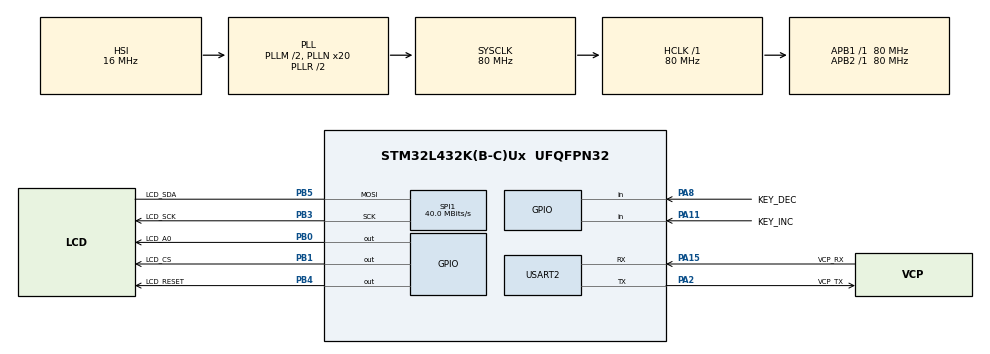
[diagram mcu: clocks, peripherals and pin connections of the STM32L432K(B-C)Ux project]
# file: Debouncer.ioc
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Mcu.Family=STM32L4
Mcu.Name=STM32L432K(B-C)Ux
Mcu.Package=UFQFPN32
NVIC.PriorityGroup=NVIC_PRIORITYGROUP_4
PA0.GPIO_Label=MCO [High speed clock in]
PA0.Signal=RCC_CK_IN
PA11.GPIO_Label=KEY_INC
PA11.GPIO_PuPd=GPIO_PULLUP
PA11.Signal=GPIO_Input
PA13\ (JTMS-SWDIO).GPIO_Label=SWDIO
PA13\ (JTMS-SWDIO).Signal=SYS_JTMS-SWDIO
PA14\ (JTCK-SWCLK).GPIO_Label=SWCLK
PA14\ (JTCK-SWCLK).Signal=SYS_JTCK-SWCLK
PA15\ (JTDI).GPIO_Label=VCP_RX
PA15\ (JTDI).Mode=Asynchronous
PA15\ (JTDI).Signal=USART2_RX
PA2.GPIO_Label=VCP_TX
PA2.Mode=Asynchronous
PA2.Signal=USART2_TX
PA8.GPIO_Label=KEY_DEC
PA8.GPIO_PuPd=GPIO_PULLUP
PA8.Signal=GPIO_Input
PB0.GPIO_Label=LCD_A0
PB0.GPIO_Speed=GPIO_SPEED_FREQ_VERY_HIGH
PB0.PinState=GPIO_PIN_RESET
PB0.Signal=GPIO_Output
PB1.GPIO_Label=LCD_CS
PB1.GPIO_Speed=GPIO_SPEED_FREQ_VERY_HIGH
PB1.Signal=GPIO_Output
PB3\ (JTDO-TRACESWO).GPIO_Label=LCD_SCK
PB3\ (JTDO-TRACESWO).Mode=Simplex_Bidirectional_Master
PB3\ (JTDO-TRACESWO).Signal=SPI1_SCK
PB4\ (NJTRST).GPIO_Label=LCD_RESET
PB4\ (NJTRST).GPIO_Speed=GPIO_SPEED_FREQ_VERY_HIGH
PB4\ (NJTRST).Signal=GPIO_Output
PB5.GPIO_Label=LCD_SDA
PB5.Mode=Simplex_Bidirectional_Master
PB5.Signal=SPI1_MOSI
PC14-OSC32_IN\ (PC14).Signal=RCC_OSC32_IN
PC15-OSC32_OUT\ (PC15).Signal=RCC_OSC32_OUT
ProjectManager.HeapSize=0x200
ProjectManager.StackSize=0x400
ProjectManager.TargetToolchain=TrueSTUDIO
RCC.ADCFreq_Value=32000000
RCC.AHBFreq_Value=80000000
RCC.APB1Freq_Value=80000000
RCC.APB1TimFreq_Value=80000000
RCC.APB2Freq_Value=80000000
RCC.APB2TimFreq_Value=80000000
RCC.CortexFreq_Value=80000000
RCC.HCLKFreq_Value=80000000
RCC.HSE_VALUE=8000000
RCC.HSI16_VALUE=16000000
RCC.HSI48_VALUE=48000000
RCC.HSI_VALUE=16000000
RCC.LSE_VALUE=32768
RCC.MSI_VALUE=4000000
RCC.PLLM=2
RCC.PLLMUL=RCC_PLLMUL_4
RCC.PLLN=20
RCC.PLLSourceVirtual=RCC_PLLSOURCE_HSI
RCC.SYSCLKFreq_VALUE=80000000
RCC.SYSCLKSource=RCC_SYSCLKSOURCE_PLLCLK
RCC.USBFreq_Value=32000000
RCC.VCOOutputFreq_Value=160000000
SPI1.BaudRatePrescaler=SPI_BAUDRATEPRESCALER_2
SPI1.CalculateBaudRate=40.0 MBits/s
SPI1.DataSize=SPI_DATASIZE_8BIT
SPI1.Direction=SPI_DIRECTION_1LINE
SPI1.Mode=SPI_MODE_MASTER
SPI1.VirtualType=VM_MASTER
USART2.VirtualMode-Asynchronous=VM_ASYNC
USART2.WordLength=WORDLENGTH_8B
board=NUCLEO-L432KC

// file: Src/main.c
/*
 * Debounce demo
 *
 * This program shows how to use the debouncing library and auto-repeat function
 *
 * Keys are connected to PA11 (increment) and PA8 (decrement), graphic LCD dis-
 * play is connected to PB0, PB1, PB3, PB4 and PB5 (check CubeMX debouncer.ioc)
 *
 * Author:		Fabio Pereira
 * Date:		08/21/2017
 */
#include "main.h"
#include "stm32l4xx_hal.h"

/* USER CODE BEGIN Includes */
#include "ST7735.h"
#include "debounce.h"
/* USER CODE END Includes */

SPI_HandleTypeDef hspi1;

UART_HandleTypeDef huart2;

/* USER CODE BEGIN PV */
/* Private variables ---------------------------------------------------------*/

/* USER CODE END PV */

void SystemClock_Config(void);
static void MX_GPIO_Init(void);
static void MX_USART2_UART_Init(void);
static void MX_SPI1_Init(void);

/* USER CODE BEGIN PFP */
/* Private function prototypes -----------------------------------------------*/

/* USER CODE END PFP */

/* USER CODE BEGIN 0 */
void printCounter(uint32_t value){
	char lcdString[10] = {0};
	snprintf(lcdString,5,"%-5li",value);
	lcd7735_setFont((uint8_t *)&BigFont);
	lcd7735_print(lcdString,55,85,0);
}
/* USER CODE END 0 */

int main(void)
{

  /* USER CODE BEGIN 1 */
	uint32_t counter = 0;
	AutoRepeatKey keyIncStruct;
	AutoRepeatKey keyDecStruct;
  /* USER CODE END 1 */

  /* MCU Configuration----------------------------------------------------------*/

  /* Reset of all peripherals, Initializes the Flash interface and the Systick. */
  HAL_Init();

  /* Configure the system clock */
  SystemClock_Config();

  /* Initialize all configured peripherals */
  MX_GPIO_Init();
  MX_USART2_UART_Init();
  MX_SPI1_Init();

  /* USER CODE BEGIN 2 */
  lcd7735_initR(INITR_REDTAB);
  lcd7735_setFont((uint8_t *)&SmallFont);
  lcd7735_fillScreen(ST7735_BLACK);
  lcd7735_print("Count =",45,70,0);
  printCounter(counter);
  initKeyAutoRepeat(&keyIncStruct,KEY_INC_GPIO_Port,KEY_INC_Pin,GPIO_PIN_RESET,10,60);
  initKeyAutoRepeat(&keyDecStruct,KEY_DEC_GPIO_Port,KEY_DEC_Pin,GPIO_PIN_RESET,10,60);
  /* USER CODE END 2 */

  /* Infinite loop */
  while (1)
  {

  /* USER CODE BEGIN 3 */
	  if (readKeyAutoRepeat(&keyIncStruct)){
		  counter++;
		  printCounter(counter);
	  }
	  if (readKeyAutoRepeat(&keyDecStruct)){
		  counter--;
		  printCounter(counter);
	  }
  }
  /* USER CODE END 3 */

}

/** System Clock Configuration
*/
void SystemClock_Config(void)
{

  RCC_OscInitTypeDef RCC_OscInitStruct;
  RCC_ClkInitTypeDef RCC_ClkInitStruct;
  RCC_PeriphCLKInitTypeDef PeriphClkInit;

    /**Initializes the CPU, AHB and APB busses clocks
    */
  RCC_OscInitStruct.OscillatorType = RCC_OSCILLATORTYPE_HSI;
  RCC_OscInitStruct.HSIState = RCC_HSI_ON;
  RCC_OscInitStruct.HSICalibrationValue = 16;
  RCC_OscInitStruct.PLL.PLLState = RCC_PLL_ON;
  RCC_OscInitStruct.PLL.PLLSource = RCC_PLLSOURCE_HSI;
  RCC_OscInitStruct.PLL.PLLM = 2;
  RCC_OscInitStruct.PLL.PLLN = 20;
  RCC_OscInitStruct.PLL.PLLP = RCC_PLLP_DIV7;
  RCC_OscInitStruct.PLL.PLLQ = RCC_PLLQ_DIV2;
  RCC_OscInitStruct.PLL.PLLR = RCC_PLLR_DIV2;
  if (HAL_RCC_OscConfig(&RCC_OscInitStruct) != HAL_OK)
  {
    _Error_Handler(__FILE__, __LINE__);
  }

    /**Initializes the CPU, AHB and APB busses clocks
    */
  RCC_ClkInitStruct.ClockType = RCC_CLOCKTYPE_HCLK|RCC_CLOCKTYPE_SYSCLK
                              |RCC_CLOCKTYPE_PCLK1|RCC_CLOCKTYPE_PCLK2;
  RCC_ClkInitStruct.SYSCLKSource = RCC_SYSCLKSOURCE_PLLCLK;
  RCC_ClkInitStruct.AHBCLKDivider = RCC_SYSCLK_DIV1;
  RCC_ClkInitStruct.APB1CLKDivider = RCC_HCLK_DIV1;
  RCC_ClkInitStruct.APB2CLKDivider = RCC_HCLK_DIV1;

  if (HAL_RCC_ClockConfig(&RCC_ClkInitStruct, FLASH_LATENCY_4) != HAL_OK)
  {
    _Error_Handler(__FILE__, __LINE__);
  }

  PeriphClkInit.PeriphClockSelection = RCC_PERIPHCLK_USART2;
  PeriphClkInit.Usart2ClockSelection = RCC_USART2CLKSOURCE_PCLK1;
  if (HAL_RCCEx_PeriphCLKConfig(&PeriphClkInit) != HAL_OK)
  {
    _Error_Handler(__FILE__, __LINE__);
  }

    /**Configure the main internal regulator output voltage
    */
  if (HAL_PWREx_ControlVoltageScaling(PWR_REGULATOR_VOLTAGE_SCALE1) != HAL_OK)
  {
    _Error_Handler(__FILE__, __LINE__);
  }

    /**Configure the Systick interrupt time
    */
  HAL_SYSTICK_Config(HAL_RCC_GetHCLKFreq()/1000);

    /**Configure the Systick
    */
  HAL_SYSTICK_CLKSourceConfig(SYSTICK_CLKSOURCE_HCLK);

  /* SysTick_IRQn interrupt configuration */
  HAL_NVIC_SetPriority(SysTick_IRQn, 0, 0);
}

/* SPI1 init function */
static void MX_SPI1_Init(void)
{

  hspi1.Instance = SPI1;
  hspi1.Init.Mode = SPI_MODE_MASTER;
  hspi1.Init.Direction = SPI_DIRECTION_1LINE;
  hspi1.Init.DataSize = SPI_DATASIZE_8BIT;
  hspi1.Init.CLKPolarity = SPI_POLARITY_LOW;
  hspi1.Init.CLKPhase = SPI_PHASE_1EDGE;
  hspi1.Init.NSS = SPI_NSS_SOFT;
  hspi1.Init.BaudRatePrescaler = SPI_BAUDRATEPRESCALER_2;
  hspi1.Init.FirstBit = SPI_FIRSTBIT_MSB;
  hspi1.Init.TIMode = SPI_TIMODE_DISABLE;
  hspi1.Init.CRCCalculation = SPI_CRCCALCULATION_DISABLE;
  hspi1.Init.CRCPolynomial = 7;
  hspi1.Init.CRCLength = SPI_CRC_LENGTH_DATASIZE;
  hspi1.Init.NSSPMode = SPI_NSS_PULSE_ENABLE;
  if (HAL_SPI_Init(&hspi1) != HAL_OK)
  {
    _Error_Handler(__FILE__, __LINE__);
  }

}

/* USART2 init function */
static void MX_USART2_UART_Init(void)
{

  huart2.Instance = USART2;
  huart2.Init.BaudRate = 115200;
  huart2.Init.WordLength = UART_WORDLENGTH_8B;
  huart2.Init.StopBits = UART_STOPBITS_1;
  huart2.Init.Parity = UART_PARITY_NONE;
  huart2.Init.Mode = UART_MODE_TX_RX;
  huart2.Init.HwFlowCtl = UART_HWCONTROL_NONE;
  huart2.Init.OverSampling = UART_OVERSAMPLING_16;
  huart2.Init.OneBitSampling = UART_ONE_BIT_SAMPLE_DISABLE;
  huart2.AdvancedInit.AdvFeatureInit = UART_ADVFEATURE_NO_INIT;
  if (HAL_UART_Init(&huart2) != HAL_OK)
  {
    _Error_Handler(__FILE__, __LINE__);
  }

}

/** Configure pins as
        * Analog
        * Input
        * Output
        * EVENT_OUT
        * EXTI
*/
static void MX_GPIO_Init(void)
{

  GPIO_InitTypeDef GPIO_InitStruct;

  /* GPIO Ports Clock Enable */
  __HAL_RCC_GPIOC_CLK_ENABLE();
  __HAL_RCC_GPIOA_CLK_ENABLE();
  __HAL_RCC_GPIOB_CLK_ENABLE();

  /*Configure GPIO pin Output Level */
  HAL_GPIO_WritePin(GPIOB, LCD_A0_Pin|LCD_CS_Pin|LCD_RESET_Pin, GPIO_PIN_RESET);

  /*Configure GPIO pins : LCD_A0_Pin LCD_CS_Pin LCD_RESET_Pin */
  GPIO_InitStruct.Pin = LCD_A0_Pin|LCD_CS_Pin|LCD_RESET_Pin;
  GPIO_InitStruct.Mode = GPIO_MODE_OUTPUT_PP;
  GPIO_InitStruct.Pull = GPIO_NOPULL;
  GPIO_InitStruct.Speed = GPIO_SPEED_FREQ_VERY_HIGH;
  HAL_GPIO_Init(GPIOB, &GPIO_InitStruct);

  /*Configure GPIO pins : KEY_DEC_Pin KEY_INC_Pin */
  GPIO_InitStruct.Pin = KEY_DEC_Pin|KEY_INC_Pin;
  GPIO_InitStruct.Mode = GPIO_MODE_INPUT;
  GPIO_InitStruct.Pull = GPIO_PULLUP;
  HAL_GPIO_Init(GPIOA, &GPIO_InitStruct);

}

void _Error_Handler(char * file, int line)
{
  while(1)
  {
  }
}

/************************ (C) COPYRIGHT STMicroelectronics *****END OF FILE****/
